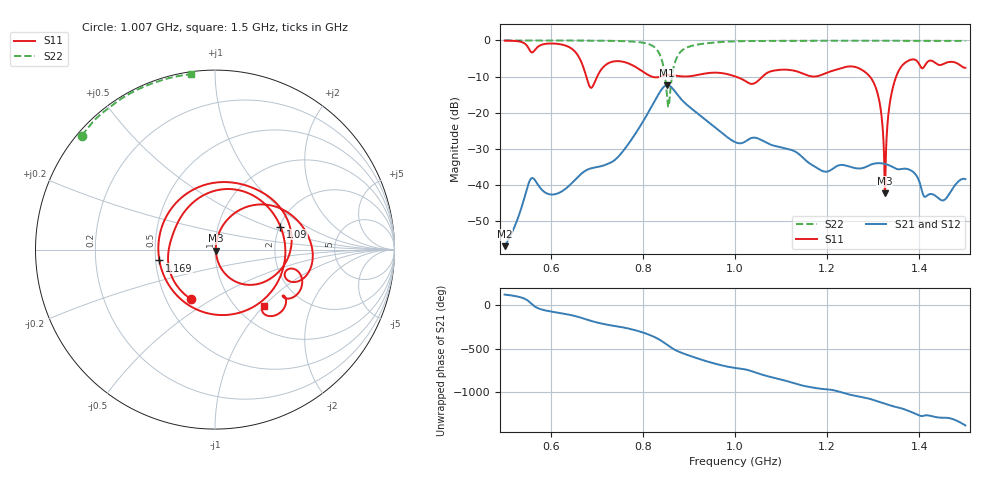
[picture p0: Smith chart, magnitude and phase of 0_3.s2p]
! TOUCHSTONE file generated by CST MICROWAVE STUDIO
! Date and time: Sat Oct 24 10:41:40 2020
! Project name: Scenario_1_Planar_Body_Tissue_Center.cst
! Parameters = {hfat=3; hmuscle=50; hskin=1.5; hgap=25; Wtissue=700; Ltissue=700; L_HA=400; MT=2.54; Rad_Dielectric=30; Rad_Lower=7.3; Rad_Upper=30; a_HA=580; a_WG=246; b_HA=500; b_WG=121; c_HA=0; c_WG=187; d_feed=85; dx1=207.64; h_feed=15; h_lower=18; h_upper=40}
! Header version: 2018
! Port assignment regex: !\s*Touchstone port\s*([0-9]+)\s*=\s*(CST MWS port|CST DS port)\s*([0-9]+|Zmin|Zmax)\s*\(\"(.*)\"\)(\s*mode\s*([0-9]+))?.*
! Touchstone port assignment:
! Touchstone port 1 = CST MWS port 1 ("")
! Touchstone port 2 = CST MWS port 2 ("")
# GHz S DB R 50
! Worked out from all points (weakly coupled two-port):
!   1003 points, 500 MHz to 1.5 GHz, reference 50 ohm
!   highest |S21| = -12.39 dB at 853 MHz (marker M1); lowest = -57.0 dB at 500 MHz (marker M2)
!   lowest |S11| = -42.4 dB at 1.325 GHz (marker M3), VSWR 1.02, Z = 50.5 - j0.569 ohm
!   |S11| at or under -10 dB: 677.1 MHz to 701 MHz (23.84 MHz wide, 3.46 % of centre); 1.001 GHz to 1.06 GHz (59.08 MHz wide, 5.73 % of centre); 1.293 GHz to 1.35 GHz (57.3 MHz wide, 4.34 % of centre) (the widest 3 of 6)
!   |S22| runs from -18.4 to 0.0 dB; largest |S21 - S12| = 1.4e-05
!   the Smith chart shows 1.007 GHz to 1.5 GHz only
!   S11 on the Smith chart (normalised r, x): 1.007 GHz: 0.66, -0.40; 1.09 GHz: 2.03, +0.61; 1.169 GHz: 0.52, -0.07; 1.5 GHz: 1.31, -1.00
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0.5  -0.05 -122.1  -57.04 123.9  -57.04 123.9  -0.01 151.1
0.558  -3.28 -150.9  -38.23 19.3  -38.23 19.3  -0.02 147.2
0.617  -0.99 174.0  -42.32 -86.7  -42.32 -86.7  -0.02 142.8
0.667  -6.14 79.9  -36.91 -145.8  -36.91 -145.8  -0.04 138.4
0.7  -10.27 -105.4  -35.13 161.4  -35.13 161.4  -0.07 134.8
0.733  -5.92 172.4  -33.67 125.6  -33.67 125.6  -0.12 130.3
0.771  -6.49 101.5  -28.28 88.3  -28.28 88.3  -0.27 122.8
0.834  -10.19 -65.7  -14.91 -31.0  -14.91 -31.0  -3.22 79.7
0.853  -9.54 -131.2  -12.39 -98.1  -12.39 -98.1  -16.03 -1.1
0.889  -10.00 131.5  -17.07 160.9  -17.07 160.9  -2.41 173.1
0.952  -8.94 5.5  -23.63 51.8  -23.63 51.8  -0.62 148.4
1  -9.96 -98.3  -28.18 -4.6  -28.18 -4.6  -0.24 140.4
1.007  -10.29 -116.3  -28.48 -9.7  -28.48 -9.7  -0.22 139.4
1.09  -8.26 19.3  -29.34 -126.0  -29.34 -126.0  -0.12 130.4
1.167  -9.99 -163.2  -34.51 130.9  -34.51 130.9  -0.11 124.2
1.169  -10.02 -169.0  -34.66 129.1  -34.66 129.1  -0.10 124.0
1.214  -8.32 78.0  -35.41 97.8  -35.41 97.8  -0.09 120.6
1.29  -9.63 -32.8  -34.70 1.8  -34.70 1.8  -0.08 114.8
1.325  -42.43 -48.2  -34.22 -57.1  -34.22 -57.1  -0.08 112.2
1.334  -19.24 75.1  -34.58 -72.6  -34.58 -72.6  -0.09 111.5
1.374  -5.78 11.7  -35.64 -135.5  -35.64 -135.5  -0.09 108.4
1.5  -7.59 -49.4  -38.44 50.9  -38.44 50.9  -0.13 97.8
